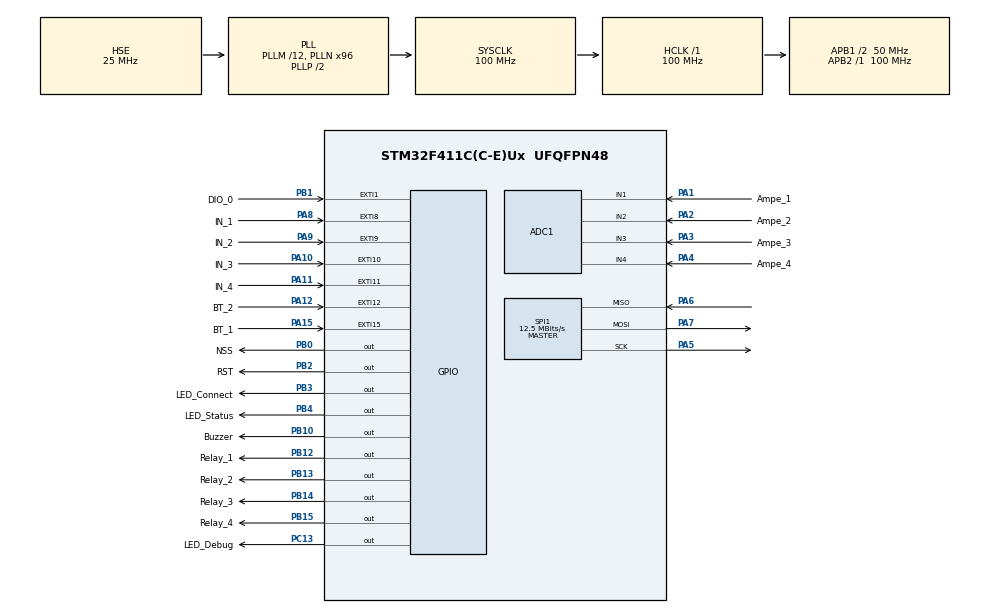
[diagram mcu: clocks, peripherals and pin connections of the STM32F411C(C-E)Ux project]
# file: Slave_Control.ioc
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ADC1.Channel-0\#ChannelRegularConversion=ADC_CHANNEL_1
ADC1.Channel-1\#ChannelRegularConversion=ADC_CHANNEL_2
ADC1.Channel-2\#ChannelRegularConversion=ADC_CHANNEL_3
ADC1.Channel-3\#ChannelRegularConversion=ADC_CHANNEL_4
ADC1.NbrOfConversion=4
ADC1.NbrOfConversionFlag=1
ADC1.Rank-0\#ChannelRegularConversion=1
ADC1.Rank-1\#ChannelRegularConversion=2
ADC1.Rank-2\#ChannelRegularConversion=3
ADC1.Rank-3\#ChannelRegularConversion=4
ADC1.SamplingTime-0\#ChannelRegularConversion=ADC_SAMPLETIME_3CYCLES
ADC1.SamplingTime-1\#ChannelRegularConversion=ADC_SAMPLETIME_3CYCLES
ADC1.SamplingTime-2\#ChannelRegularConversion=ADC_SAMPLETIME_3CYCLES
ADC1.SamplingTime-3\#ChannelRegularConversion=ADC_SAMPLETIME_3CYCLES
ADC1.master=1
Dma.ADC1.0.Direction=DMA_PERIPH_TO_MEMORY
Dma.ADC1.0.FIFOMode=DMA_FIFOMODE_DISABLE
Dma.ADC1.0.Instance=DMA2_Stream0
Dma.ADC1.0.MemDataAlignment=DMA_MDATAALIGN_HALFWORD
Dma.ADC1.0.MemInc=DMA_MINC_ENABLE
Dma.ADC1.0.Mode=DMA_CIRCULAR
Dma.ADC1.0.PeriphDataAlignment=DMA_PDATAALIGN_HALFWORD
Dma.ADC1.0.PeriphInc=DMA_PINC_DISABLE
Dma.ADC1.0.Priority=DMA_PRIORITY_LOW
Dma.Request0=ADC1
IWDG.Prescaler=IWDG_PRESCALER_64
IWDG.Reload=2499
Mcu.Family=STM32F4
Mcu.Name=STM32F411C(C-E)Ux
Mcu.Package=UFQFPN48
NVIC.ADC_IRQn=true\:0\:0\:true\:false\:true\:true\:true\:true
NVIC.DMA2_Stream0_IRQn=true\:0\:0\:false\:false\:true\:false\:true\:true
NVIC.EXTI15_10_IRQn=true\:0\:0\:true\:false\:true\:true\:true\:true
NVIC.EXTI1_IRQn=true\:0\:0\:true\:false\:true\:true\:true\:true
NVIC.EXTI9_5_IRQn=true\:0\:0\:true\:false\:true\:true\:true\:true
NVIC.PriorityGroup=NVIC_PRIORITYGROUP_4
PA1.GPIO_Label=Ampe_1
PA1.Signal=ADCx_IN1
PA10.GPIO_Label=IN_3
PA10.GPIO_ModeDefaultEXTI=GPIO_MODE_IT_RISING_FALLING
PA10.GPIO_PuPd=GPIO_PULLUP
PA10.Signal=GPXTI10
PA11.GPIO_Label=IN_4
PA11.GPIO_ModeDefaultEXTI=GPIO_MODE_IT_FALLING
PA11.GPIO_PuPd=GPIO_PULLUP
PA11.Signal=GPXTI11
PA12.GPIO_Label=BT_2
PA12.GPIO_ModeDefaultEXTI=GPIO_MODE_IT_FALLING
PA12.GPIO_PuPd=GPIO_PULLUP
PA12.Signal=GPXTI12
PA13.Mode=Serial_Wire
PA13.Signal=SYS_JTMS-SWDIO
PA14.Mode=Serial_Wire
PA14.Signal=SYS_JTCK-SWCLK
PA15.GPIO_Label=BT_1
PA15.GPIO_ModeDefaultEXTI=GPIO_MODE_IT_FALLING
PA15.GPIO_PuPd=GPIO_PULLUP
PA15.Signal=GPXTI15
PA2.GPIO_Label=Ampe_2
PA2.Signal=ADCx_IN2
PA3.GPIO_Label=Ampe_3
PA3.Signal=ADCx_IN3
PA4.GPIO_Label=Ampe_4
PA4.Signal=ADCx_IN4
PA5.Mode=Full_Duplex_Master
PA5.Signal=SPI1_SCK
PA6.Mode=Full_Duplex_Master
PA6.Signal=SPI1_MISO
PA7.Mode=Full_Duplex_Master
PA7.Signal=SPI1_MOSI
PA8.GPIO_Label=IN_1
PA8.GPIO_ModeDefaultEXTI=GPIO_MODE_IT_RISING_FALLING
PA8.GPIO_PuPd=GPIO_PULLUP
PA8.Signal=GPXTI8
PA9.GPIO_Label=IN_2
PA9.GPIO_ModeDefaultEXTI=GPIO_MODE_IT_RISING_FALLING
PA9.GPIO_PuPd=GPIO_PULLUP
PA9.Signal=GPXTI9
PB0.GPIO_Label=NSS
PB0.PinState=GPIO_PIN_SET
PB0.Signal=GPIO_Output
PB1.GPIO_Label=DIO_0
PB1.GPIO_ModeDefaultEXTI=GPIO_MODE_IT_RISING
PB1.GPIO_PuPd=GPIO_NOPULL
PB1.Signal=GPXTI1
PB10.GPIO_Label=Buzzer
PB10.Signal=GPIO_Output
PB12.GPIO_Label=Relay_1
PB12.PinState=GPIO_PIN_SET
PB12.Signal=GPIO_Output
PB13.GPIO_Label=Relay_2
PB13.PinState=GPIO_PIN_SET
PB13.Signal=GPIO_Output
PB14.GPIO_Label=Relay_3
PB14.PinState=GPIO_PIN_SET
PB14.Signal=GPIO_Output
PB15.GPIO_Label=Relay_4
PB15.PinState=GPIO_PIN_SET
PB15.Signal=GPIO_Output
PB2.GPIO_Label=RST
PB2.PinState=GPIO_PIN_SET
PB2.Signal=GPIO_Output
PB3.GPIO_Label=LED_Connect
PB3.Signal=GPIO_Output
PB4.GPIO_Label=LED_Status
PB4.Signal=GPIO_Output
PC13-ANTI_TAMP.GPIO_Label=LED_Debug
PC13-ANTI_TAMP.Signal=GPIO_Output
PH0\ -\ OSC_IN.Mode=HSE-External-Oscillator
PH0\ -\ OSC_IN.Signal=RCC_OSC_IN
PH1\ -\ OSC_OUT.Mode=HSE-External-Oscillator
PH1\ -\ OSC_OUT.Signal=RCC_OSC_OUT
ProjectManager.HeapSize=0x200
ProjectManager.StackSize=0x400
ProjectManager.TargetToolchain=MDK-ARM V5
RCC.48MHZClocksFreq_Value=50000000
RCC.AHBFreq_Value=100000000
RCC.APB1CLKDivider=RCC_HCLK_DIV2
RCC.APB1Freq_Value=50000000
RCC.APB1TimFreq_Value=100000000
RCC.APB2Freq_Value=100000000
RCC.APB2TimFreq_Value=100000000
RCC.CortexFreq_Value=100000000
RCC.HCLKFreq_Value=100000000
RCC.HSE_VALUE=25000000
RCC.HSI_VALUE=16000000
RCC.LSE_VALUE=32768
RCC.PLLM=12
RCC.PLLN=96
RCC.PLLSourceVirtual=RCC_PLLSOURCE_HSE
RCC.SYSCLKFreq_VALUE=100000000
RCC.SYSCLKSource=RCC_SYSCLKSOURCE_PLLCLK
RCC.VCOOutputFreq_Value=200000000
SH.ADCx_IN1.0=ADC1_IN1,IN1
SH.ADCx_IN2.0=ADC1_IN2,IN2
SH.ADCx_IN3.0=ADC1_IN3,IN3
SH.ADCx_IN4.0=ADC1_IN4,IN4
SPI1.BaudRatePrescaler=SPI_BAUDRATEPRESCALER_8
SPI1.CalculateBaudRate=12.5 MBits/s
SPI1.Direction=SPI_DIRECTION_2LINES
SPI1.Mode=SPI_MODE_MASTER
SPI1.VirtualType=VM_MASTER
VP_IWDG_VS_IWDG.Mode=IWDG_Activate
board=custom

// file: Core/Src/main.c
/* USER CODE BEGIN Header */
/**
  ******************************************************************************
  * @file           : main.c
  * @brief          : Main program body
  ******************************************************************************
  * @attention
  *
  * Copyright (c) 2023 STMicroelectronics.
  * All rights reserved.
  *
  * This software is licensed under terms that can be found in the LICENSE file
  * in the root directory of this software component.
  * If no LICENSE file comes with this software, it is provided AS-IS.
  *
  ******************************************************************************
  */
/* USER CODE END Header */
#include "main.h"
#include "adc.h"
#include "dma.h"
#include "iwdg.h"
#include "spi.h"
#include "gpio.h"

/* USER CODE BEGIN Includes */
#include "Lora.h"
/* USER CODE END Includes */

/* USER CODE BEGIN PV */
// Pin
#define Port_Contactor_1 	Relay_4_GPIO_Port
#define Pin_Concactor_1		Relay_4_Pin
#define Port_Contactor_2 	Relay_3_GPIO_Port
#define Pin_Concactor_2		Relay_3_Pin
#define Port_Buzzer				Relay_2_GPIO_Port
#define Pin_Buzzer				Relay_2_Pin
// Lora
LoRa mLoRa;
uint8_t lora_Stat = 0;
uint8_t loraData[128];
uint8_t loraSend[4];
// Time
unsigned long oldtime_1 = 0;
unsigned long oldtime_2 = 0;
unsigned long oldtime_3 = 0;

unsigned long timeDelay_1 = 1000;
unsigned long timeDelay_2 = 500;
unsigned long timeDelay_3 = 500;
// Status Variable
uint8_t loraRCV = 0;
uint8_t stat_Con1 = 0;			uint8_t status1 = 0;
uint8_t stat_Con2 = 0;			uint8_t status2 = 0;
uint8_t stat_Buzzer = 0;
uint8_t stat_Manual = 0;

// ADC
uint16_t data_ADC[4];
uint16_t temp_ADC[4];
uint16_t volt_ADC[4] = {0, 0, 0, 0};
// Temporary
uint8_t temp_1 = 0;
/* USER CODE END PV */

void SystemClock_Config(void);
/* USER CODE BEGIN PFP */
void buzzerRun(void);
void rstContactor(void);
void blynkConnect(void);
void connectLora(void);
void initLora(void);
void readADC(void);
/* USER CODE END PFP */

int main(void)
{

  /* MCU Configuration--------------------------------------------------------*/

  /* Reset of all peripherals, Initializes the Flash interface and the Systick. */
  HAL_Init();

  /* Configure the system clock */
  SystemClock_Config();

  /* Initialize all configured peripherals */
  MX_GPIO_Init();
  MX_DMA_Init();
  MX_ADC1_Init();
  MX_SPI1_Init();
  MX_IWDG_Init();
  /* USER CODE BEGIN 2 */
	HAL_IWDG_Init(&hiwdg);
	initLora();
	rstContactor();
	buzzerRun();

	stat_Manual = HAL_GPIO_ReadPin(IN_1_GPIO_Port, IN_1_Pin);
	if(stat_Manual)		rstContactor();
  /* USER CODE END 2 */

  /* Infinite loop */
  /* USER CODE BEGIN WHILE */
  while (1)
  {
		if((unsigned long) (HAL_GetTick() - oldtime_1) > timeDelay_1) {
			HAL_IWDG_Refresh(&hiwdg);
			connectLora();
			HAL_GPIO_TogglePin(LED_Debug_GPIO_Port, LED_Debug_Pin);
			oldtime_1 = HAL_GetTick();
		}

		if ((unsigned long) (HAL_GetTick() - oldtime_2) > timeDelay_2) {
			if (stat_Manual == 0) {		// Mode Auto
				if (loraRCV) {					// Receive Lora
//					blynkConnect();
					buzzerRun();
					loraSend[0] = 'Q';
					loraSend[1] = '0';
					loraSend[2] = stat_Con1 + 0x30;
					loraSend[3] = stat_Con2 + 0x30;
					LoRa_transmit(&mLoRa, loraSend, sizeof(loraSend), 500);
					loraRCV = 0;
				}
				HAL_GPIO_WritePin(Port_Contactor_1, Pin_Concactor_1, !stat_Con1);
				HAL_GPIO_WritePin(Port_Contactor_2, Pin_Concactor_2, !stat_Con2);
				HAL_GPIO_WritePin(Port_Buzzer, Pin_Buzzer, !stat_Buzzer);
			}
			oldtime_2 = HAL_GetTick();
    }
		if((unsigned long) (HAL_GetTick() - oldtime_3) > timeDelay_3) {
			if (stat_Manual == 1) {		// Mode Manual
//				HAL_GPIO_WritePin(Port_Contactor_1, Pin_Concactor_1, status1);
//				HAL_GPIO_WritePin(Port_Contactor_2, Pin_Concactor_2, status2);
				if(temp_1) {
					loraSend[0] = 'Q';
					loraSend[1] = '0';
					loraSend[2] = status1 + 0x30;
					loraSend[3] = status2 + 0x30;
					LoRa_transmit(&mLoRa, loraSend, sizeof(loraSend), 500);
					temp_1 = 0;
				}
			}
			oldtime_3 = HAL_GetTick();
		}

    /* USER CODE END WHILE */

  }
}

void SystemClock_Config(void)
{
  RCC_OscInitTypeDef RCC_OscInitStruct = {0};
  RCC_ClkInitTypeDef RCC_ClkInitStruct = {0};

  /** Configure the main internal regulator output voltage
  */
  __HAL_RCC_PWR_CLK_ENABLE();
  __HAL_PWR_VOLTAGESCALING_CONFIG(PWR_REGULATOR_VOLTAGE_SCALE1);

  /** Initializes the RCC Oscillators according to the specified parameters
  * in the RCC_OscInitTypeDef structure.
  */
  RCC_OscInitStruct.OscillatorType = RCC_OSCILLATORTYPE_LSI|RCC_OSCILLATORTYPE_HSE;
  RCC_OscInitStruct.HSEState = RCC_HSE_ON;
  RCC_OscInitStruct.LSIState = RCC_LSI_ON;
  RCC_OscInitStruct.PLL.PLLState = RCC_PLL_ON;
  RCC_OscInitStruct.PLL.PLLSource = RCC_PLLSOURCE_HSE;
  RCC_OscInitStruct.PLL.PLLM = 12;
  RCC_OscInitStruct.PLL.PLLN = 96;
  RCC_OscInitStruct.PLL.PLLP = RCC_PLLP_DIV2;
  RCC_OscInitStruct.PLL.PLLQ = 4;
  if (HAL_RCC_OscConfig(&RCC_OscInitStruct) != HAL_OK)
  {
    Error_Handler();
  }

  /** Initializes the CPU, AHB and APB buses clocks
  */
  RCC_ClkInitStruct.ClockType = RCC_CLOCKTYPE_HCLK|RCC_CLOCKTYPE_SYSCLK
                              |RCC_CLOCKTYPE_PCLK1|RCC_CLOCKTYPE_PCLK2;
  RCC_ClkInitStruct.SYSCLKSource = RCC_SYSCLKSOURCE_PLLCLK;
  RCC_ClkInitStruct.AHBCLKDivider = RCC_SYSCLK_DIV1;
  RCC_ClkInitStruct.APB1CLKDivider = RCC_HCLK_DIV2;
  RCC_ClkInitStruct.APB2CLKDivider = RCC_HCLK_DIV1;

  if (HAL_RCC_ClockConfig(&RCC_ClkInitStruct, FLASH_LATENCY_3) != HAL_OK)
  {
    Error_Handler();
  }
}

/* USER CODE BEGIN 4 */
// Interrupt
void HAL_GPIO_EXTI_Callback(uint16_t GPIO_Pin) {
	if(GPIO_Pin == mLoRa.DIO0_pin) {
		LoRa_receive(&mLoRa, loraData, 128);

		if((loraData[0] == 'Q')&& (loraData[1] ==	'0')) {
			loraRCV = 1;
			if(loraData[2] == '1') 				stat_Con1 = 1;
			else if (loraData[2] == '0') 	stat_Con1 = 0;

			if(loraData[3] == '1') 				stat_Con2 = 1;
			else if (loraData[3] == '0') 	stat_Con2 = 0;

			if(loraData[4] == '1') 				stat_Buzzer = 1;
			else if (loraData[4] == '0') 	stat_Buzzer = 0;
		}
	}

	if (GPIO_Pin == IN_1_Pin) {
		stat_Manual = HAL_GPIO_ReadPin(IN_1_GPIO_Port, IN_1_Pin);
		if(stat_Manual)		rstContactor();
	}
	if (GPIO_Pin == IN_2_Pin) {
		status1 = !HAL_GPIO_ReadPin(IN_2_GPIO_Port, IN_2_Pin);
		temp_1  = 1;
	}
	if (GPIO_Pin == IN_3_Pin) {
		status2 = !HAL_GPIO_ReadPin(IN_3_GPIO_Port, IN_3_Pin);
		temp_1  = 1;
	}

	if(GPIO_Pin == BT_1_Pin) {
		temp_1 = 1;
		status1 = !status1;
	}
	if(GPIO_Pin == BT_2_Pin) {
		temp_1 = 1;
		status2 = !status2;
	}
}

// Buzzer run
void buzzerRun(void) {
	for(int i = 0; i < 3; i++) {
		HAL_GPIO_WritePin(Buzzer_GPIO_Port, Buzzer_Pin, GPIO_PIN_SET);
		HAL_Delay(100);
		HAL_GPIO_WritePin(Buzzer_GPIO_Port, Buzzer_Pin, GPIO_PIN_RESET);
		HAL_Delay(100);
	}
}

// Reset status
void rstContactor(void) {
	HAL_GPIO_WritePin(Port_Contactor_1, Pin_Concactor_1, GPIO_PIN_SET);
	HAL_GPIO_WritePin(Port_Contactor_2, Pin_Concactor_2, GPIO_PIN_SET);
}
// Read ADC
void readADC(void) {
	for(int i = 0; i < 50; i++) {
		HAL_ADC_Start_DMA(&hadc1, (uint32_t*)data_ADC, 4);
		HAL_Delay(1);
		HAL_ADC_Stop_DMA(&hadc1);
		for(int j = 0; i < 4; j++) {
			temp_ADC[j] = (data_ADC[j]*3300)/4095;
			if(volt_ADC[j] < temp_ADC[j]) volt_ADC[j] = temp_ADC[j];
		}
	}
}

//Blynk
void blynkConnect(void) {
	for(int i = 0; i < 5; i++) {
		HAL_GPIO_WritePin(LED_Status_GPIO_Port, LED_Status_Pin, GPIO_PIN_SET);
		HAL_Delay(50);
		HAL_GPIO_WritePin(LED_Status_GPIO_Port, LED_Status_Pin, GPIO_PIN_RESET);
		HAL_Delay(50);
	}
}

// Connect Lora
void connectLora(void) {
	if(LoRa_init(&mLoRa) == LORA_OK) {
		lora_Stat = 1;
		HAL_GPIO_WritePin(LED_Connect_GPIO_Port, LED_Connect_Pin, GPIO_PIN_SET);
	}
	else HAL_GPIO_WritePin(LED_Connect_GPIO_Port, LED_Connect_Pin, GPIO_PIN_RESET);

	LoRa_startReceiving(&mLoRa);
}
// Init Lora
void initLora(void) {
	mLoRa = newLoRa();

	mLoRa.CS_port         = NSS_GPIO_Port;
	mLoRa.CS_pin          = NSS_Pin;
	mLoRa.reset_port      = RST_GPIO_Port;
	mLoRa.reset_pin       = RST_Pin;
	mLoRa.DIO0_port       = DIO_0_GPIO_Port;
	mLoRa.DIO0_pin        = DIO_0_Pin;
	mLoRa.hSPIx           = &hspi1;

	mLoRa.frequency             = 433;             // default = 433 MHz
	mLoRa.spredingFactor        = SF_10;           // default = SF_7
	mLoRa.bandWidth             = BW_125KHz;       // default = BW_125KHz
	mLoRa.crcRate               = CR_4_5;          // default = CR_4_5
	mLoRa.power                 = POWER_17db;      // default = 20db
	mLoRa.overCurrentProtection = 100;             // default = 100 mA
	mLoRa.preamble              = 8;               // default = 8;

	connectLora();
}
/* USER CODE END 4 */

void Error_Handler(void)
{
  __disable_irq();
  while (1)
  {
  }
}
